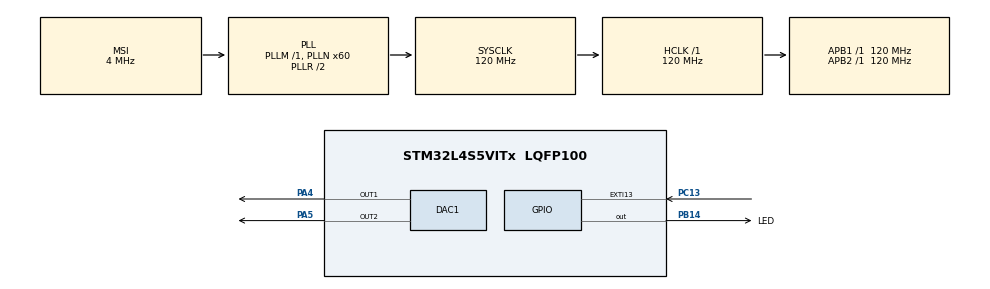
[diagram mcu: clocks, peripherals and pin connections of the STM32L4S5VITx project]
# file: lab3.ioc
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DAC1.DAC_Channel-DAC_OUT2=DAC_CHANNEL_2
Mcu.Family=STM32L4
Mcu.Name=STM32L4S5VITx
Mcu.Package=LQFP100
NVIC.EXTI15_10_IRQn=true\:0\:0\:false\:false\:true\:true\:true\:true
NVIC.PriorityGroup=NVIC_PRIORITYGROUP_4
NVIC.TIM2_IRQn=true\:0\:0\:false\:false\:true\:true\:true\:true
PA13\ (JTMS/SWDIO).Mode=Trace_Asynchronous_SW
PA13\ (JTMS/SWDIO).Signal=SYS_JTMS-SWDIO
PA14\ (JTCK/SWCLK).Mode=Trace_Asynchronous_SW
PA14\ (JTCK/SWCLK).Signal=SYS_JTCK-SWCLK
PA4.Signal=COMP_DAC11_group
PA5.Signal=COMP_DAC12_group
PB14.GPIO_Label=LED
PB14.Signal=GPIO_Output
PB3\ (JTDO/TRACESWO).Mode=Trace_Asynchronous_SW
PB3\ (JTDO/TRACESWO).Signal=SYS_JTDO-SWO
PC13.GPIO_PuPd=GPIO_PULLUP
PC13.Signal=GPXTI13
ProjectManager.HeapSize=0x200
ProjectManager.StackSize=0x400
ProjectManager.TargetToolchain=STM32CubeIDE
RCC.ADCFreq_Value=48000000
RCC.AHBFreq_Value=120000000
RCC.APB1Freq_Value=120000000
RCC.APB1TimFreq_Value=120000000
RCC.APB2Freq_Value=120000000
RCC.APB2TimFreq_Value=120000000
RCC.CortexFreq_Value=120000000
RCC.HCLKFreq_Value=120000000
RCC.HSE_VALUE=8000000
RCC.HSI48_VALUE=48000000
RCC.HSI_VALUE=16000000
RCC.MSI_VALUE=4000000
RCC.PLLN=60
RCC.PLLSAI1N=24
RCC.SYSCLKFreq_VALUE=120000000
RCC.SYSCLKSource=RCC_SYSCLKSOURCE_PLLCLK
RCC.USBFreq_Value=48000000
RCC.VCOOutputFreq_Value=240000000
SH.COMP_DAC11_group.0=DAC1_OUT1,DAC_OUT1
SH.COMP_DAC12_group.0=DAC1_OUT2,DAC_OUT2
TIM2.Period=1999
TIM2.TIM_MasterOutputTrigger=TIM_TRGO_UPDATE
VP_TIM2_VS_ClockSourceINT.Mode=Internal
board=B-L4S5I-IOT01A

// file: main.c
/* USER CODE BEGIN Header */
/**
  ******************************************************************************
  * @file           : main.c
  * @brief          : Main program body
  ******************************************************************************
  * @attention
  *
  * Copyright (c) 2026 STMicroelectronics.
  * All rights reserved.
  *
  * This software is licensed under terms that can be found in the LICENSE file
  * in the root directory of this software component.
  * If no LICENSE file comes with this software, it is provided AS-IS.
  *
  ******************************************************************************
  */
/* USER CODE END Header */
#include "main.h"

/* USER CODE BEGIN Includes */
#define ARM_MATH_CM4
#include "arm_math.h"
/* USER CODE END Includes */

/* USER CODE BEGIN PD */
// period = number of steps * time per step
// 15 ms = number of steps * 1 ms (set HAL_DELAY to 1 ms)
// number of steps = 15
#define STEPS_PER_CYCLE 15
#define DELAY_MS 1

/* USER CODE END PD */

DAC_HandleTypeDef hdac1;

TIM_HandleTypeDef htim2;

/* USER CODE BEGIN PV */
// number of bit precision for the DAC
// choice to use 8 bits resoltiuon, as the values fit in the uint8_t data type
// given that there are 15 steps per cycle, the extra resolution of 12 bits won't be much help
uint8_t saw = 0;
uint8_t triangle = 0;
uint8_t sine = 0;
uint8_t sine_table[STEPS_PER_CYCLE]; // to fill LUT w/the sine values from CMSIS (limit # of calls)
int i; // timer interrupt counter
/* USER CODE END PV */

void SystemClock_Config(void);
static void MX_GPIO_Init(void);
static void MX_DAC1_Init(void);
static void MX_TIM2_Init(void);
/* USER CODE BEGIN PFP */
uint8_t saw_next_value(void);
uint8_t triangle_next_value(void);
void sine_table_init(void);
uint8_t sin_next_value(void);
void HAL_GPIO_EXTI_Callback(uint16_t GPIO_Pin);
/* USER CODE END PFP */

/* USER CODE BEGIN 0 */

// Goal: over the 15 steps in the cycle, output should go from 0 to 255 (255 uses full 8 bit range because it is the largest value the 8 bit DAC can output)
uint8_t saw_next_value(void){
	// there are 15 steps in a cycle, from 0 to 14.
	// step 0: output is 0
	// step 14: output must be 255 (last step before wrapping back to step 0)
	// so there's 14 steps that must be of equal size -> 255/14 = 18.21
	// so at step n, the value of the saw wave should be n * 18.21

	//set the current step number to static variable
	static uint8_t step = 0;
	uint8_t value = (uint8_t)(step * (255.0f / (STEPS_PER_CYCLE - 1)));
	//increment step number
	step = (step+1) % STEPS_PER_CYCLE;
	return value;
}
uint8_t triangle_next_value(void){
	// rise to highest value at midpoint of the period, then go back down to 0- by end of period
	static uint8_t step = 0;
	uint8_t half_period = (uint8_t)(STEPS_PER_CYCLE / 2.0f);
	uint8_t value;
	//rising part
	if (step <= half_period){
		value = (uint8_t)(step * (255.0f / half_period));
	}
	//decreasing part of triangle
	else {
		value = (uint8_t)((STEPS_PER_CYCLE - 1 - step) * (255.0f / half_period));
	}
	//increment step number
	step = (step+1) % STEPS_PER_CYCLE;
	return value;
}

void sine_table_init(void){
	for (int step = 0; step < STEPS_PER_CYCLE; step++){
		float angle = 2.0f * PI * ((float)step / STEPS_PER_CYCLE);
		float value = (arm_sin_f32(angle) + 1.0f) * 127.5f;

		//saturation instead of overflow
		if (value > 255.0f){
		    value = 255.0f;
		}
		if (value < 0.0f){
		    value = 0.0f;
		}

		// populate sine table with CMSIS values
		sine_table[step] = (uint8_t)value;
	}
}

uint8_t sin_next_value(void){
	static uint8_t step = 0;
	uint8_t value = sine_table[step];
	step = (step + 1) % STEPS_PER_CYCLE;
	return value;
}

/* USER CODE END 0 */

int main(void)
{

  /* MCU Configuration--------------------------------------------------------*/

  /* Reset of all peripherals, Initializes the Flash interface and the Systick. */
  HAL_Init();

  /* Configure the system clock */
  SystemClock_Config();

  /* Initialize all configured peripherals */
  MX_GPIO_Init();
  MX_DAC1_Init();
  MX_TIM2_Init();
  /* USER CODE BEGIN 2 */
  sine_table_init();
  HAL_DAC_Start(&hdac1, DAC_CHANNEL_1); // channel 1 used for triangle wave
  HAL_DAC_Start(&hdac1, DAC_CHANNEL_2); // channel 2 used for sawtooth wave
  /* USER CODE END 2 */

  /* Infinite loop */
  while (1)
  {

    /* USER CODE BEGIN 3 */
	//get next values for wavforms
	triangle = triangle_next_value();
	//saw = saw_next_value();
	sine = sin_next_value();

	//send the values to corresponding channels
	HAL_DAC_SetValue(&hdac1, DAC_CHANNEL_1, DAC_ALIGN_8B_R, triangle);	//set channel 1 = triangle
	//HAL_DAC_SetValue(&hdac1, DAC_CHANNEL_2, DAC_ALIGN_8B_R, saw);			//set channel 2 = saw
	//set channel 2 = sine
	//HAL_DAC_SetValue(&hdac1, DAC_CHANNEL_2, DAC_ALIGN_8B_R, sine);

	// wait for 1 ms before the next step
	// HAL Delay sets a blocking wait using SysTick timer as source of time base
	// will wait a MINIMUM of 1ms between steps, but not necessarily 1ms, could be more, which might explain
	// 'timing differences' between the period we intended each waveform to have (15 ms) vs the observed.
	// while loop does other work, so 1ms isn't exact either.
	HAL_Delay(DELAY_MS);
  }
  /* USER CODE END 3 */
}

void SystemClock_Config(void)
{
  RCC_OscInitTypeDef RCC_OscInitStruct = {0};
  RCC_ClkInitTypeDef RCC_ClkInitStruct = {0};

  /** Configure the main internal regulator output voltage
  */
  if (HAL_PWREx_ControlVoltageScaling(PWR_REGULATOR_VOLTAGE_SCALE1_BOOST) != HAL_OK)
  {
    Error_Handler();
  }

  /** Initializes the RCC Oscillators according to the specified parameters
  * in the RCC_OscInitTypeDef structure.
  */
  RCC_OscInitStruct.OscillatorType = RCC_OSCILLATORTYPE_MSI;
  RCC_OscInitStruct.MSIState = RCC_MSI_ON;
  RCC_OscInitStruct.MSICalibrationValue = 0;
  RCC_OscInitStruct.MSIClockRange = RCC_MSIRANGE_6;
  RCC_OscInitStruct.PLL.PLLState = RCC_PLL_ON;
  RCC_OscInitStruct.PLL.PLLSource = RCC_PLLSOURCE_MSI;
  RCC_OscInitStruct.PLL.PLLM = 1;
  RCC_OscInitStruct.PLL.PLLN = 60;
  RCC_OscInitStruct.PLL.PLLP = RCC_PLLP_DIV2;
  RCC_OscInitStruct.PLL.PLLQ = RCC_PLLQ_DIV2;
  RCC_OscInitStruct.PLL.PLLR = RCC_PLLR_DIV2;
  if (HAL_RCC_OscConfig(&RCC_OscInitStruct) != HAL_OK)
  {
    Error_Handler();
  }

  /** Initializes the CPU, AHB and APB buses clocks
  */
  RCC_ClkInitStruct.ClockType = RCC_CLOCKTYPE_HCLK|RCC_CLOCKTYPE_SYSCLK
                              |RCC_CLOCKTYPE_PCLK1|RCC_CLOCKTYPE_PCLK2;
  RCC_ClkInitStruct.SYSCLKSource = RCC_SYSCLKSOURCE_PLLCLK;
  RCC_ClkInitStruct.AHBCLKDivider = RCC_SYSCLK_DIV1;
  RCC_ClkInitStruct.APB1CLKDivider = RCC_HCLK_DIV1;
  RCC_ClkInitStruct.APB2CLKDivider = RCC_HCLK_DIV1;

  if (HAL_RCC_ClockConfig(&RCC_ClkInitStruct, FLASH_LATENCY_5) != HAL_OK)
  {
    Error_Handler();
  }
}

static void MX_DAC1_Init(void)
{

  DAC_ChannelConfTypeDef sConfig = {0};

  /** DAC Initialization
  */
  hdac1.Instance = DAC1;
  if (HAL_DAC_Init(&hdac1) != HAL_OK)
  {
    Error_Handler();
  }

  /** DAC channel OUT1 config
  */
  sConfig.DAC_SampleAndHold = DAC_SAMPLEANDHOLD_DISABLE;
  sConfig.DAC_Trigger = DAC_TRIGGER_NONE;
  sConfig.DAC_HighFrequency = DAC_HIGH_FREQUENCY_INTERFACE_MODE_ABOVE_80MHZ;
  sConfig.DAC_OutputBuffer = DAC_OUTPUTBUFFER_ENABLE;
  sConfig.DAC_ConnectOnChipPeripheral = DAC_CHIPCONNECT_DISABLE;
  sConfig.DAC_UserTrimming = DAC_TRIMMING_FACTORY;
  if (HAL_DAC_ConfigChannel(&hdac1, &sConfig, DAC_CHANNEL_1) != HAL_OK)
  {
    Error_Handler();
  }

  /** DAC channel OUT2 config
  */
  if (HAL_DAC_ConfigChannel(&hdac1, &sConfig, DAC_CHANNEL_2) != HAL_OK)
  {
    Error_Handler();
  }

}

static void MX_TIM2_Init(void)
{

  TIM_ClockConfigTypeDef sClockSourceConfig = {0};
  TIM_MasterConfigTypeDef sMasterConfig = {0};

  htim2.Instance = TIM2;
  htim2.Init.Prescaler = 0;
  htim2.Init.CounterMode = TIM_COUNTERMODE_UP;
  htim2.Init.Period = 1999;
  htim2.Init.ClockDivision = TIM_CLOCKDIVISION_DIV1;
  htim2.Init.AutoReloadPreload = TIM_AUTORELOAD_PRELOAD_DISABLE;
  if (HAL_TIM_Base_Init(&htim2) != HAL_OK)
  {
    Error_Handler();
  }
  sClockSourceConfig.ClockSource = TIM_CLOCKSOURCE_INTERNAL;
  if (HAL_TIM_ConfigClockSource(&htim2, &sClockSourceConfig) != HAL_OK)
  {
    Error_Handler();
  }
  sMasterConfig.MasterOutputTrigger = TIM_TRGO_UPDATE;
  sMasterConfig.MasterSlaveMode = TIM_MASTERSLAVEMODE_DISABLE;
  if (HAL_TIMEx_MasterConfigSynchronization(&htim2, &sMasterConfig) != HAL_OK)
  {
    Error_Handler();
  }

}

static void MX_GPIO_Init(void)
{
  GPIO_InitTypeDef GPIO_InitStruct = {0};

  /* GPIO Ports Clock Enable */
  __HAL_RCC_GPIOC_CLK_ENABLE();
  __HAL_RCC_GPIOA_CLK_ENABLE();
  __HAL_RCC_GPIOB_CLK_ENABLE();

  /*Configure GPIO pin Output Level */
  HAL_GPIO_WritePin(LED_GPIO_Port, LED_Pin, GPIO_PIN_RESET);

  /*Configure GPIO pin : PC13 */
  GPIO_InitStruct.Pin = GPIO_PIN_13;
  GPIO_InitStruct.Mode = GPIO_MODE_IT_RISING;
  GPIO_InitStruct.Pull = GPIO_PULLUP;
  HAL_GPIO_Init(GPIOC, &GPIO_InitStruct);

  /*Configure GPIO pin : LED_Pin */
  GPIO_InitStruct.Pin = LED_Pin;
  GPIO_InitStruct.Mode = GPIO_MODE_OUTPUT_PP;
  GPIO_InitStruct.Pull = GPIO_NOPULL;
  GPIO_InitStruct.Speed = GPIO_SPEED_FREQ_LOW;
  HAL_GPIO_Init(LED_GPIO_Port, &GPIO_InitStruct);

  /* EXTI interrupt init*/
  HAL_NVIC_SetPriority(EXTI15_10_IRQn, 0, 0);
  HAL_NVIC_EnableIRQ(EXTI15_10_IRQn);

}

/* USER CODE BEGIN 4 */
// create HAL callback  for the pushbutton interrupt
void HAL_GPIO_EXTI_Callback(uint16_t GPIO_Pin){
	// if the button is pressed, toggle the LED state
	if (GPIO_Pin == GPIO_PIN_13){
	    HAL_GPIO_TogglePin(LED_GPIO_Port, LED_Pin);
	  }
}

// create HAL callback for timer interrupt
void HAL_TIM_PeriodElapsedCallback (TIM_HandleTypeDef * htim) {
	if (htim == &htim2) {
		i++;
	}
}

/* USER CODE END 4 */

void Error_Handler(void)
{
  __disable_irq();
  while (1)
  {
  }
}
